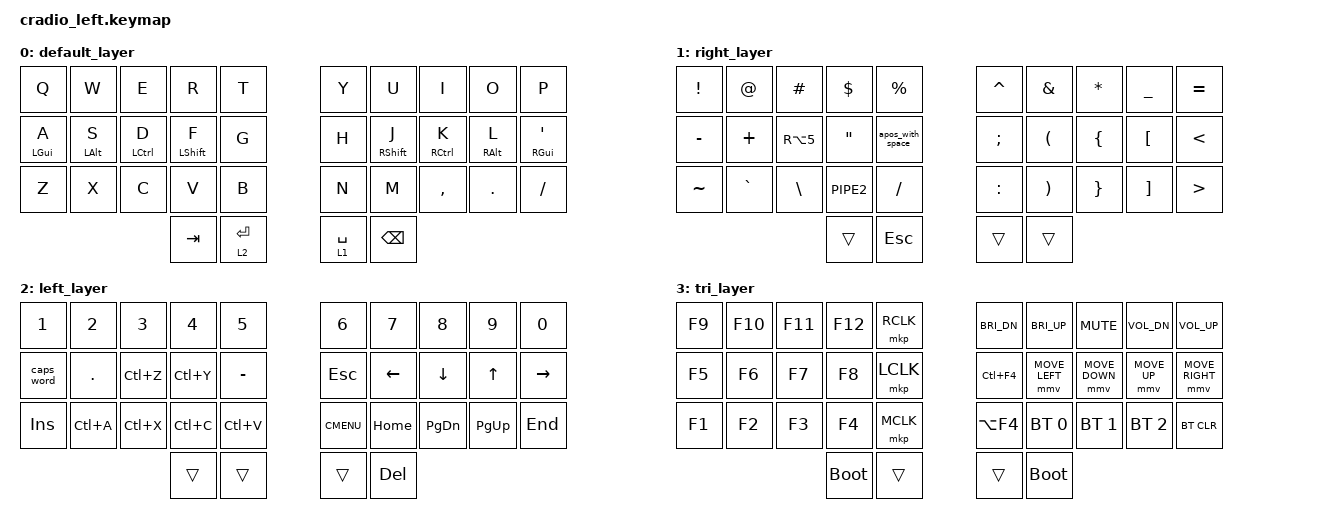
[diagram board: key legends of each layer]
// Copyright (c) 2022 The ZMK Contributors
// SPDX-License-Identifier: MIT
//
// NOTE: Timeless Homerow Mod implementation, timings, and the use of
// zmk-helpers/key-labels/34.h are based on or derived from the work
// of urob found at https://github.com/urob/zmk-config and
// https://github.com/urob/zmk-helpers.
//

#include <behaviors.dtsi>
#include <dt-bindings/zmk/keys.h>
#include <dt-bindings/zmk/bt.h>
#include <dt-bindings/zmk/pointing.h>
#include "zmk-helpers/key-labels/34.h"
#include "zmk-helpers/helper.h"

#define ZMK_POINTING_DEFAULT_MOVE_VAL 1500  // default: 600
#define ZMK_POINTING_DEFAULT_SCRL_VAL 20    // default: 10

// --- Timeless Homerow Mods Configuration ---

// Define key positions using labels from 34.h
#define KEYS_L LT0 LT1 LT2 LT3 LT4 LM0 LM1 LM2 LM3 LM4 LB0 LB1 LB2 LB3 LB4
#define KEYS_R RT0 RT1 RT2 RT3 RT4 RM0 RM1 RM2 RM3 RM4 RB0 RB1 RB2 RB3 RB4
#define THUMBS LH1 LH0 RH0 RH1 // Uses labels defined in 34.h

/* Left-hand HRMs (GACS order: GUI-Alt-Ctrl-Shift from pinky to index). */
ZMK_HOLD_TAP(hml,
    flavor = "balanced";
    tapping-term-ms = <280>;
    quick-tap-ms = <175>;
    require-prior-idle-ms = <150>;
    bindings = <&kp>, <&kp>;
    hold-trigger-key-positions = <KEYS_R THUMBS>;
    hold-trigger-on-release;
)

/* Right-hand HRMs (GACS order: GUI-Alt-Ctrl-Shift from pinky to index). */
ZMK_HOLD_TAP(hmr,
    flavor = "balanced";
    tapping-term-ms = <280>;
    quick-tap-ms = <175>;
    require-prior-idle-ms = <150>;
    bindings = <&kp>, <&kp>;
    hold-trigger-key-positions = <KEYS_L THUMBS>;
    hold-trigger-on-release;
)

// --- End Timeless Homerow Mods Configuration ---


/ {
    kscan0: kscan {
        compatible = "zmk,kscan-gpio-direct";
        wakeup-source;

        input-gpios
        = <&pro_micro  7 (GPIO_ACTIVE_LOW | GPIO_PULL_UP)>
        , <&pro_micro 18 (GPIO_ACTIVE_LOW | GPIO_PULL_UP)>
        , <&pro_micro 19 (GPIO_ACTIVE_LOW | GPIO_PULL_UP)>
        , <&pro_micro 20 (GPIO_ACTIVE_LOW | GPIO_PULL_UP)>
        , <&pro_micro 21 (GPIO_ACTIVE_LOW | GPIO_PULL_UP)>
        , <&pro_micro 15 (GPIO_ACTIVE_LOW | GPIO_PULL_UP)>
        , <&pro_micro 14 (GPIO_ACTIVE_LOW | GPIO_PULL_UP)>
        , <&pro_micro 16 (GPIO_ACTIVE_LOW | GPIO_PULL_UP)>
        , <&gpio1 7      (GPIO_ACTIVE_LOW | GPIO_PULL_UP)>
        , <&pro_micro  1 (GPIO_ACTIVE_LOW | GPIO_PULL_UP)>
        , <&pro_micro  2 (GPIO_ACTIVE_LOW | GPIO_PULL_UP)>
        , <&pro_micro  3 (GPIO_ACTIVE_LOW | GPIO_PULL_UP)>
        , <&pro_micro  4 (GPIO_ACTIVE_LOW | GPIO_PULL_UP)>
        , <&pro_micro  5 (GPIO_ACTIVE_LOW | GPIO_PULL_UP)>
        , <&pro_micro  6 (GPIO_ACTIVE_LOW | GPIO_PULL_UP)>
        , <&pro_micro  8 (GPIO_ACTIVE_LOW | GPIO_PULL_UP)>
        , <&pro_micro  9 (GPIO_ACTIVE_LOW | GPIO_PULL_UP)>
        ;
    };

    behaviors {
        apos_with_space: apos_macro {
            compatible = "zmk,behavior-macro";
            #binding-cells = <0>;
            bindings = <&kp APOS &kp SPACE>; // Action: Press ', press space
        };
    };

    key_positions {
        compatible = "zmk,key-positions";
        positions = <
            LT4 LT3 LT2 LT1 LT0      RT0 RT1 RT2 RT3 RT4
            LM4 LM3 LM2 LM1 LM0      RM0 RM1 RM2 RM3 RM4
            LB4 LB3 LB2 LB1 LB0      RB0 RB1 RB2 RB3 RB4
                        LH1 LH0      RH0 RH1
        >;
    };

    conditional_layers {
        compatible = "zmk,conditional-layers";
        tri_layer {
            if-layers = <1 2>;
            then-layer = <3>;
        };
    };

    keymap {
        compatible = "zmk,keymap";
        default_layer {
            bindings = <
        //╭──────────┬──────────┬──────────┬──────────┬──────────╮     ╭──────────┬──────────┬──────────┬──────────┬──────────╮
        //│  Q       │  W       │  E       │  R       │  T       │     │  Y       │  U       │  I       │  O       │  P       │
            &kp Q      &kp W      &kp E      &kp R      &kp T            &kp Y      &kp U      &kp I      &kp O      &kp P
        //├──────────┼──────────┼──────────┼──────────┼──────────┤     ├──────────┼──────────┼──────────┼──────────┼──────────┤
        //│  A       │  S       │  D       │  F       │  G       │     │  H       │  J       │  K       │  L       │ ' "      │
         &hml LGUI A &hml LALT S &hml LCTRL D &hml LSHFT F  &kp G      &kp H    &hmr RSHFT J &hmr RCTRL K &hmr RALT L &hmr RGUI SQT
        //├──────────┼──────────┼──────────┼──────────┼──────────┤     ├──────────┼──────────┼──────────┼──────────┼──────────┤
        //│  Z       │  X       │  C       │  V       │  B       │     │  N       │  M       │ , <      │ . >      │ / ?      │
            &kp Z      &kp X      &kp C      &kp V      &kp B            &kp N      &kp M      &kp COMMA  &kp DOT    &kp FSLH
        //╰──────────┴──────────┴──────────┼──────────┼──────────┤     ├──────────┼──────────┼──────────┴──────────┴──────────╯
                                            &kp TAB    &lt 2 ENTER      &lt 1 SPACE &kp BSPC
        //                                 ╰──────────┴──────────╯     ╰──────────┴──────────╯
            >;
        };

        right_layer {
            bindings = <
        //╭──────────┬──────────┬──────────┬──────────┬──────────╮     ╭──────────┬──────────┬──────────┬──────────┬──────────╮
        //│  !       │  @       │  #       │  $       │  %       │     │  ^       │  &       │  *       │  _       │  =       │
            &kp EXCL   &kp AT     &kp POUND  &kp DLLR   &kp PRCNT        &kp CARET  &kp AMPS   &kp STAR   &kp UNDER  &kp EQUAL
        //├──────────┼──────────┼──────────┼──────────┼──────────┤     ├──────────┼──────────┼──────────┼──────────┼──────────┤
        //│  -       │   +      │  €       │  "       │  '       │     │  ;       │  (       │  {       │  [       │  <       │
            &kp MINUS  &kp PLUS  &kp RA(N5)  &kp DQT &apos_with_space   &kp SEMI   &kp LPAR   &kp LBRC   &kp LBKT   &kp LT
        //├──────────┼──────────┼──────────┼──────────┼──────────┤     ├──────────┼──────────┼──────────┼──────────┼──────────┤
        //│  ~       │  `       │  \       │  |       │  /       │     │  :       │  )       │  }       │  ]       │  >       │
            &kp TILDE  &kp GRAVE  &kp BSLH   &kp PIPE2  &kp FSLH         &kp COLON  &kp RPAR   &kp RBRC   &kp RBKT   &kp GT
        //╰──────────┴──────────┴──────────┼──────────┼──────────┤     ├──────────┼──────────┼──────────┴──────────┴──────────╯
        //                                 │          │  ESCAPE  │     │          │          │
                                            &trans     &kp ESC          &trans     &trans
        //                                 ╰──────────┴──────────╯     ╰──────────┴──────────╯
            >;
        };

        left_layer {
            bindings = <
        //╭──────────┬──────────┬──────────┬──────────┬──────────╮     ╭──────────┬──────────┬──────────┬──────────┬──────────╮
        //│  1       │  2       │  3       │  4       │  5       │     │  6       │  7       │  8       │  9       │  0       │
           &kp N1     &kp N2     &kp N3     &kp N4     &kp N5           &kp N6     &kp N7     &kp N8     &kp N9     &kp N0
        //├──────────┼──────────┼──────────┼──────────┼──────────┤     ├──────────┼──────────┼──────────┼──────────┼──────────┤
        //│CAPS WORD │  .       │  UNDO    │  REDO    │  -       │     │  ESCAPE  │ LEFT     │ DOWN     │ UP       │ RIGHT    │
           &caps_word &kp DOT    &kp LC(Z)  &kp LC(Y)  &kp MINUS        &kp ESC    &kp LEFT   &kp DOWN   &kp UP     &kp RIGHT
        //├──────────┼──────────┼──────────┼──────────┼──────────┤     ├──────────┼──────────┼──────────┼──────────┼──────────┤
        //│  INSERT  │SELECT ALL│  CUT     │  COPY    │  PASTE   │     │CONTE MENU│ HOME     │ PAGE DN  │ PAGE UP  │ END      │
           &kp INS    &kp LC(A)  &kp LC(X)  &kp LC(C)  &kp LC(V)        &kp K_CMENU &kp HOME  &kp PG_DN  &kp PG_UP  &kp END
        //╰──────────┴──────────┴──────────┼──────────┼──────────┤     ├──────────┼──────────┼──────────┴──────────┴──────────╯
        //                                 │          │          │     │          │  DELETE  │
                                             &trans     &trans          &trans     &kp DEL
        //                                 ╰──────────┴──────────╯     ╰──────────┴──────────╯
            >;
        };

        tri_layer {
            bindings = <
        //╭──────────┬──────────┬──────────┬──────────┬──────────╮   ╭──────────┬──────────┬──────────┬──────────┬──────────╮
        //│  F9      │  F10     │  F11     │  F12     │RIGHT CLK │   │ BRIGHT - │ BRIGHT + │ MUTED    │ VOL DOWN │ VOL UP   │
           &kp F9     &kp F10    &kp F11    &kp F12    &mkp RCLK     &kp C_BRI_DN &kp C_BRI_UP &kp C_MUTE &kp C_VOL_DN &kp C_VOL_UP
        //├──────────┼──────────┼──────────┼──────────┼──────────┤   ├──────────┼──────────┼──────────┼──────────┼──────────┤
        //│  F5      │  F6      │  F7      │   F8     │LEFT CLK  │   │ CLS WIND │MOUS LEFT │MOUS DOWN │ MOUS UP  │MOUS RIGHT│
           &kp F5     &kp F6     &kp F7     &kp F8     &mkp LCLK     &kp LC(F4) &mmv MOVE_LEFT &mmv MOVE_DOWN &mmv MOVE_UP &mmv MOVE_RIGHT
        //├──────────┼──────────┼──────────┼──────────┼──────────┤   ├──────────┼──────────┼──────────┼──────────┼──────────┤
        //│  F1      │  F2      │  F3      │  F4      │MIDDLE CLK│   │ CLS TAB  │  BT 0    │  BT 1    │  BT 2    │ BT CLR   │
           &kp F1     &kp F2     &kp F3     &kp F4     &mkp MCLK     &kp LA(F4) &bt BT_SEL 0 &bt BT_SEL 1 &bt BT_SEL 2 &bt BT_CLR
        //╰──────────┴──────────┴──────────┼──────────┼──────────┤   ├──────────┼──────────┼──────────┴──────────┴──────────╯
        //                                 │BOOTLOADER│          │   │          │BOOTLOADER│
                                           &bootloader &trans        &trans     &bootloader
        //                                 ╰──────────┴──────────╯   ╰──────────┴──────────╯
            >;
        };
    };
};
